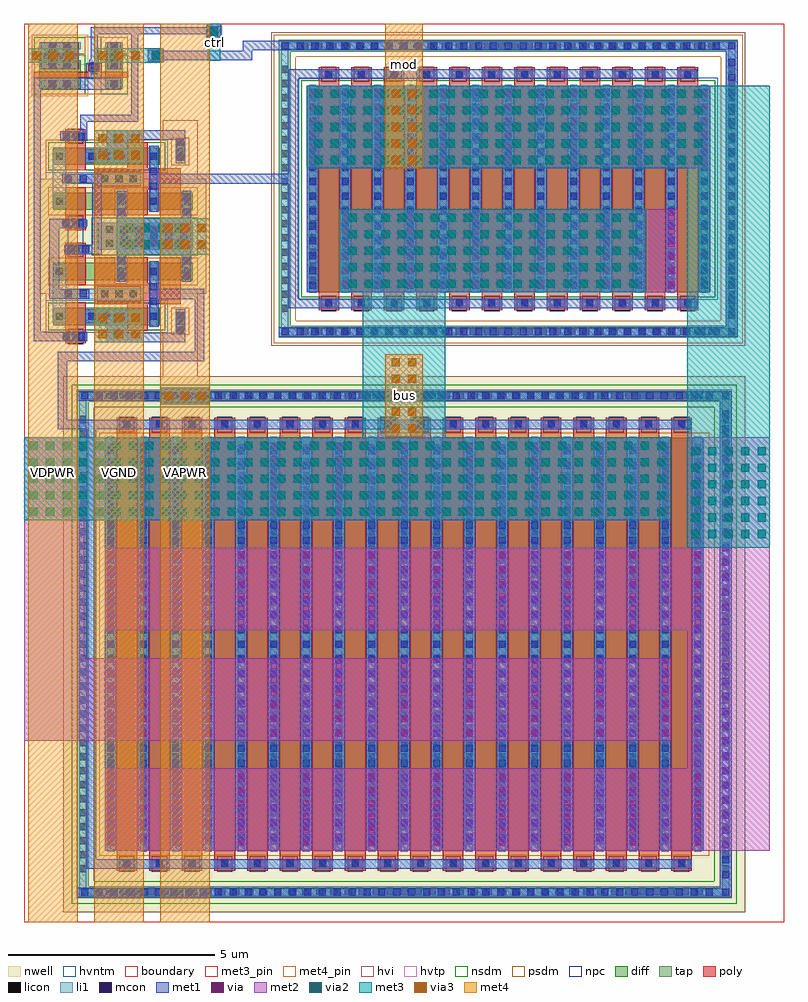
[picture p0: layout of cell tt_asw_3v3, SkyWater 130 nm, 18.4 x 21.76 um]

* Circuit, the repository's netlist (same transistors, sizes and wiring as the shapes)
** sch_path: /home/tnt/consult/tinytapeout/tt_asw_3v3/xschem/tt_asw_3v3.sch
.subckt tt_asw_3v3 VGND VDPWR VAPWR ctrl mod bus
*.iopin mod
*.iopin bus
*.ipin ctrl
*.iopin VGND
*.iopin VDPWR
*.iopin VAPWR
XM1 tgon_n net2 VAPWR VAPWR sky130_fd_pr__pfet_g5v0d10v5 L=0.5 W=0.84 nf=1 ad='int((nf+1)/2) * W/nf * 0.29' as='int((nf+2)/2) * W/nf * 0.29'
+ pd='2*int((nf+1)/2) * (W/nf + 0.29)' ps='2*int((nf+2)/2) * (W/nf + 0.29)' nrd='0.29 / W' nrs='0.29 / W' sa=0 sb=0 sd=0 mult=1 m=1
XM2 tgon_n net2 VGND VGND sky130_fd_pr__nfet_g5v0d10v5 L=0.5 W=0.42 nf=1 ad='int((nf+1)/2) * W/nf * 0.29' as='int((nf+2)/2) * W/nf * 0.29'
+ pd='2*int((nf+1)/2) * (W/nf + 0.29)' ps='2*int((nf+2)/2) * (W/nf + 0.29)' nrd='0.29 / W' nrs='0.29 / W' sa=0 sb=0 sd=0 mult=1 m=1
XM3 tgon net1 VAPWR VAPWR sky130_fd_pr__pfet_g5v0d10v5 L=0.5 W=0.84 nf=1 ad='int((nf+1)/2) * W/nf * 0.29' as='int((nf+2)/2) * W/nf * 0.29'
+ pd='2*int((nf+1)/2) * (W/nf + 0.29)' ps='2*int((nf+2)/2) * (W/nf + 0.29)' nrd='0.29 / W' nrs='0.29 / W' sa=0 sb=0 sd=0 mult=1 m=1
XM4 tgon net1 VGND VGND sky130_fd_pr__nfet_g5v0d10v5 L=0.5 W=0.42 nf=1 ad='int((nf+1)/2) * W/nf * 0.29' as='int((nf+2)/2) * W/nf * 0.29'
+ pd='2*int((nf+1)/2) * (W/nf + 0.29)' ps='2*int((nf+2)/2) * (W/nf + 0.29)' nrd='0.29 / W' nrs='0.29 / W' sa=0 sb=0 sd=0 mult=1 m=1
XM5 bus tgon_n mod VAPWR sky130_fd_pr__pfet_g5v0d10v5 L=0.5 W=180 nf=18 ad='int((nf+1)/2) * W/nf * 0.29' as='int((nf+2)/2) * W/nf * 0.29'
+ pd='2*int((nf+1)/2) * (W/nf + 0.29)' ps='2*int((nf+2)/2) * (W/nf + 0.29)' nrd='0.29 / W' nrs='0.29 / W' sa=0 sb=0 sd=0 mult=1 m=1
XM6 bus tgon mod VGND sky130_fd_pr__nfet_g5v0d10v5 L=0.5 W=60 nf=12 ad='int((nf+1)/2) * W/nf * 0.29' as='int((nf+2)/2) * W/nf * 0.29'
+ pd='2*int((nf+1)/2) * (W/nf + 0.29)' ps='2*int((nf+2)/2) * (W/nf + 0.29)' nrd='0.29 / W' nrs='0.29 / W' sa=0 sb=0 sd=0 mult=1 m=1
XM7 ctrl_n ctrl VGND VGND sky130_fd_pr__nfet_01v8 L=0.15 W=0.42 nf=1 ad='int((nf+1)/2) * W/nf * 0.29' as='int((nf+2)/2) * W/nf * 0.29'
+ pd='2*int((nf+1)/2) * (W/nf + 0.29)' ps='2*int((nf+2)/2) * (W/nf + 0.29)' nrd='0.29 / W' nrs='0.29 / W' sa=0 sb=0 sd=0 mult=1 m=1
XM8 ctrl_n ctrl VDPWR VDPWR sky130_fd_pr__pfet_01v8_hvt L=0.15 W=1 nf=1 ad='int((nf+1)/2) * W/nf * 0.29' as='int((nf+2)/2) * W/nf * 0.29'
+ pd='2*int((nf+1)/2) * (W/nf + 0.29)' ps='2*int((nf+2)/2) * (W/nf + 0.29)' nrd='0.29 / W' nrs='0.29 / W' sa=0 sb=0 sd=0 mult=1 m=1
XM9 net1 ctrl VGND VGND sky130_fd_pr__nfet_g5v0d10v5 L=0.5 W=0.42 nf=1 ad='int((nf+1)/2) * W/nf * 0.29' as='int((nf+2)/2) * W/nf * 0.29'
+ pd='2*int((nf+1)/2) * (W/nf + 0.29)' ps='2*int((nf+2)/2) * (W/nf + 0.29)' nrd='0.29 / W' nrs='0.29 / W' sa=0 sb=0 sd=0 mult=1 m=1
XM10 net2 ctrl_n VGND VGND sky130_fd_pr__nfet_g5v0d10v5 L=0.5 W=0.42 nf=1 ad='int((nf+1)/2) * W/nf * 0.29' as='int((nf+2)/2) * W/nf * 0.29'
+ pd='2*int((nf+1)/2) * (W/nf + 0.29)' ps='2*int((nf+2)/2) * (W/nf + 0.29)' nrd='0.29 / W' nrs='0.29 / W' sa=0 sb=0 sd=0 mult=1 m=1
XM11 net1 net2 net3 VAPWR sky130_fd_pr__pfet_g5v0d10v5 L=0.5 W=0.42 nf=1 ad='int((nf+1)/2) * W/nf * 0.29' as='int((nf+2)/2) * W/nf * 0.29'
+ pd='2*int((nf+1)/2) * (W/nf + 0.29)' ps='2*int((nf+2)/2) * (W/nf + 0.29)' nrd='0.29 / W' nrs='0.29 / W' sa=0 sb=0 sd=0 mult=1 m=1
XM12 net2 net1 net4 VAPWR sky130_fd_pr__pfet_g5v0d10v5 L=0.5 W=0.42 nf=1 ad='int((nf+1)/2) * W/nf * 0.29' as='int((nf+2)/2) * W/nf * 0.29'
+ pd='2*int((nf+1)/2) * (W/nf + 0.29)' ps='2*int((nf+2)/2) * (W/nf + 0.29)' nrd='0.29 / W' nrs='0.29 / W' sa=0 sb=0 sd=0 mult=1 m=1
XM13 net3 net1 VAPWR VAPWR sky130_fd_pr__pfet_g5v0d10v5 L=0.5 W=0.42 nf=1 ad='int((nf+1)/2) * W/nf * 0.29' as='int((nf+2)/2) * W/nf * 0.29'
+ pd='2*int((nf+1)/2) * (W/nf + 0.29)' ps='2*int((nf+2)/2) * (W/nf + 0.29)' nrd='0.29 / W' nrs='0.29 / W' sa=0 sb=0 sd=0 mult=1 m=1
XM14 net4 net2 VAPWR VAPWR sky130_fd_pr__pfet_g5v0d10v5 L=0.5 W=0.42 nf=1 ad='int((nf+1)/2) * W/nf * 0.29' as='int((nf+2)/2) * W/nf * 0.29'
+ pd='2*int((nf+1)/2) * (W/nf + 0.29)' ps='2*int((nf+2)/2) * (W/nf + 0.29)' nrd='0.29 / W' nrs='0.29 / W' sa=0 sb=0 sd=0 mult=1 m=1
.ends
.end

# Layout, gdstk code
from math import pi, radians
import gdstk
lib = gdstk.Library(unit=1e-6, precision=1e-09)
def R(c, l, rs):  # rectangles x0, y0, x1, y1
    for r in rs: c.add(gdstk.rectangle(r[:2], r[2:], *l))
def A(c, l, x, y, w, h, nx, ny, dx, dy):  # array of equal rectangles
    R(c, l, [(x+i*dx, y+j*dy, x+i*dx+w, y+j*dy+h) for i in range(nx) for j in range(ny)])
nwell = (64, 20)
diff = (65, 20)
tap = (65, 44)
poly = (66, 20)
licon = (66, 44)
li1 = (67, 20)
mcon = (67, 44)
met1 = (68, 20)
via = (68, 44)
met2 = (69, 20)
via2 = (69, 44)
met3_pin = (70, 16)
met3 = (70, 20)
via3 = (70, 44)
met4_pin = (71, 16)
met4 = (71, 20)
hvi = (75, 20)
hvtp = (78, 44)
nsdm = (93, 44)
psdm = (94, 20)
npc = (95, 20)
hvntm = (125, 20)
boundary = (235, 4)

tt_small_inv = lib.new_cell('tt_small_inv')
R(tt_small_inv, nwell, [(3.21,24.22,4.7,25.58)])
R(tt_small_inv, diff, [(3.83,24.4,4.52,25.4), (3.83,26,4.52,26.42)])
R(tt_small_inv, tap, [(3.39,24.4,3.56,25.4), (3.39,26,3.56,26.42)])
R(tt_small_inv, poly, [(4.1,24.27,4.25,25.59), (3.92,25.59,4.25,25.86), (4.1,25.86,4.25,26.55)])
R(tt_small_inv, licon, [(3.39,24.645,3.56,24.815), (3.87,24.645,4.04,24.815), (4.31,24.645,4.48,24.815), (3.39,24.985,3.56,25.155), (3.87,24.985,4.04,25.155), (4.31,24.985,4.48,25.155), (4,25.64,4.17,25.81), (3.39,26.125,3.56,26.295), (3.87,26.125,4.04,26.295), (4.31,26.125,4.48,26.295)])
R(tt_small_inv, li1, [(3.39,24.44,4.04,25.36), (4.31,24.44,4.48,25.36), (3.88,25.64,4.25,25.81), (3.39,26.04,4.04,26.38), (4.31,26.04,4.48,26.38)])
R(tt_small_inv, mcon, [(3.45,24.635,3.62,24.805), (3.81,24.635,3.98,24.805), (4.31,24.635,4.48,24.805), (3.45,24.995,3.62,25.165), (3.81,24.995,3.98,25.165), (4.31,24.995,4.48,25.165), (3.88,25.64,4.05,25.81), (3.45,26.125,3.62,26.295), (3.81,26.125,3.98,26.295), (4.31,26.125,4.48,26.295)])
R(tt_small_inv, met1, [(3.39,24.44,4.04,25.36), (4.25,24.44,4.54,26.38), (3.82,25.61,4.11,25.64), (3.39,25.64,4.11,25.81), (3.82,25.81,4.11,25.84), (3.39,26.04,4.04,26.38)])
R(tt_small_inv, hvtp, [(3.92,24.22,4.43,25.58)])
R(tt_small_inv, nsdm, [(3.265,24.275,3.685,25.5), (3.26,25.5,4.65,25.9), (3.705,25.9,4.645,26.545)])
R(tt_small_inv, psdm, [(3.705,24.275,4.645,25.5), (3.26,25.5,4.65,25.9), (3.265,25.9,3.685,26.545)])
R(tt_small_inv, npc, [(3.9,25.54,4.27,25.91)])

tt_lvl_shift = lib.new_cell('tt_lvl_shift')
R(tt_lvl_shift, nwell, [(-0.01,-1.39,4.02,1.39)])
R(tt_lvl_shift, diff, [(1.11,-2.15,3.69,-1.73), (0.32,-1.06,3.69,-0.64), (0.32,0.64,3.69,1.06), (1.11,1.73,3.69,2.15)])
R(tt_lvl_shift, tap, [(0.52,-2.26,0.71,-1.85), (0.32,-0.33,2.64,0.33), (0.52,1.85,0.71,2.26)])
A(tt_lvl_shift, poly, 0.61, -1.14, 0.5, 0.63, 3, 2, 0.79, 1.65)
R(tt_lvl_shift, poly, [(2.9,-2.59,3.4,-1.6), (1.4,-2.28,1.9,-1.65), (0.61,-1.65,2.69,-1.14), (2.9,-1.19,3.4,-0.15), (2.9,0.15,3.4,1.19), (0.61,1.14,2.69,1.65), (2.9,1.6,3.4,2.59), (1.4,1.65,1.9,2.28)])
A(tt_lvl_shift, licon, 1.975, -2.025, 0.17, 0.17, 3, 2, 0.34, 3.88)
A(tt_lvl_shift, licon, 1.675, -1.48, 0.17, 0.17, 3, 2, 0.34, 2.79)
A(tt_lvl_shift, licon, 0.38, -0.935, 0.17, 0.17, 3, 2, 0.79, 1.7)
A(tt_lvl_shift, licon, 0.545, -0.255, 0.17, 0.17, 6, 2, 0.34, 0.34)
R(tt_lvl_shift, licon, [(3.065,-2.51,3.235,-2.34), (0.53,-2.14,0.7,-1.97), (1.17,-2.025,1.34,-1.855), (3.46,-2.025,3.63,-1.855), (3.46,-0.935,3.63,-0.765), (3.065,-0.4,3.235,-0.23), (3.065,0.23,3.235,0.4), (3.46,0.765,3.63,0.935), (1.17,1.855,1.34,2.025), (3.46,1.855,3.63,2.025), (0.53,1.97,0.7,2.14), (3.065,2.34,3.235,2.51)])
R(tt_lvl_shift, li1, [(2.87,-2.51,3.46,-2.34), (0.53,-2.36,0.7,-1.83), (1.17,-2.19,1.34,-0.6), (1.88,-2.11,2.92,-1.77), (3.38,-2.11,3.71,-1.52), (1.51,-1.52,3.71,-1.27), (3.38,-1.27,3.71,-0.68), (0.38,-1.1,0.55,-0.33), (1.96,-1.1,2.13,-0.33), (2.87,-0.4,3.48,-0.23), (0.36,-0.33,2.6,0.33), (2.82,0.23,3.43,0.4), (0.38,0.33,0.55,1.1), (1.96,0.33,2.13,1.1), (1.17,0.6,1.34,2.19), (3.38,0.68,3.71,1.27), (1.51,1.27,3.71,1.52), (3.38,1.52,3.71,2.11), (1.88,1.77,2.92,2.11), (0.53,1.83,0.7,2.36), (2.87,2.34,3.46,2.51)])
A(tt_lvl_shift, mcon, 1.955, -2.025, 0.17, 0.17, 3, 2, 0.36, 3.88)
A(tt_lvl_shift, mcon, 1.17, -2.02, 0.17, 0.17, 1, 4, 0, 0.36)
A(tt_lvl_shift, mcon, 0.45, -0.085, 0.17, 0.17, 5, 1, 0.36, 0)
A(tt_lvl_shift, mcon, 1.17, 0.77, 0.17, 0.17, 1, 4, 0, 0.36)
R(tt_lvl_shift, mcon, [(2.93,-2.51,3.1,-2.34), (3.29,-2.51,3.46,-2.34), (0.53,-2.36,0.7,-2.19), (0.53,-2,0.7,-1.83), (2.885,-1.48,3.055,-1.31), (3.245,-1.48,3.415,-1.31), (0.38,-1.04,0.55,-0.87), (1.96,-1.04,2.13,-0.87), (0.38,-0.68,0.55,-0.51), (1.96,-0.68,2.13,-0.51), (2.95,-0.4,3.12,-0.23), (3.31,-0.4,3.48,-0.23), (2.82,0.23,2.99,0.4), (3.18,0.23,3.35,0.4), (0.38,0.51,0.55,0.68), (1.96,0.51,2.13,0.68), (0.38,0.87,0.55,1.04), (1.96,0.87,2.13,1.04), (2.885,1.31,3.055,1.48), (3.245,1.31,3.415,1.48), (0.53,1.83,0.7,2), (0.53,2.19,0.7,2.36), (2.93,2.34,3.1,2.51), (3.29,2.34,3.46,2.51)])
R(tt_lvl_shift, met1, [(0.5,-2.57,2.4,-2.34), (2.87,-2.54,3.52,-2.31), (0.5,-2.34,0.73,-1.77), (1.88,-2.34,2.4,-2.11), (1.14,-2.19,1.37,-0.6), (1.88,-2.11,2.92,-1.77), (2.52,-1.51,3.48,-1.28), (2.52,-1.28,2.75,0.2), (0.35,-1.1,0.58,-0.44), (1.93,-1.1,2.16,-0.44), (0.35,-0.44,2.16,0.44), (2.89,-0.43,3.79,-0.2), (3.55,-0.2,3.79,1.28), (2.52,0.2,3.41,0.43), (0.35,0.44,0.58,1.1), (1.93,0.44,2.16,1.1), (1.14,0.6,1.37,2.19), (2.82,1.28,3.79,1.51), (0.5,1.77,0.73,2.34), (1.88,1.77,2.92,2.11), (1.88,2.11,2.4,2.34), (2.87,2.31,3.52,2.54), (0.5,2.34,2.4,2.57)])
R(tt_lvl_shift, hvi, [(0.195,-2.81,1.035,-2.335), (0.195,-2.335,3.875,-1.39), (-0.01,-1.39,4.02,1.39), (0.195,1.39,3.875,2.335), (0.195,2.335,1.035,2.81)])
R(tt_lvl_shift, nsdm, [(0.985,-2.275,3.815,-1.605), (0.195,-0.455,2.765,0.455), (0.985,1.605,3.815,2.275)])
R(tt_lvl_shift, psdm, [(0.395,-2.385,0.835,-1.725), (0.195,-1.185,3.815,-0.515), (0.195,0.515,3.815,1.185), (0.395,1.725,0.835,2.385)])
R(tt_lvl_shift, npc, [(2.965,-2.61,3.335,-2.24), (1.575,-1.58,2.625,-1.21), (2.965,-0.5,3.335,0.5), (1.575,1.21,2.625,1.58), (2.965,2.24,3.335,2.61)])
R(tt_lvl_shift, hvntm, [(0.925,-2.335,3.875,-1.545), (0.925,1.545,3.875,2.335)])

sky130_fd_pr__pfet_g5v0d = lib.new_cell('sky130_fd_pr__pfet_g5v0d10v5_CYUY46')
R(sky130_fd_pr__pfet_g5v0d, nwell, [(-8.255,-6.485,8.255,6.485)])
R(sky130_fd_pr__pfet_g5v0d, diff, [(-7.255,-5,7.255,5)])
R(sky130_fd_pr__pfet_g5v0d, tap, [(-7.925,-6.155,7.925,-5.865), (-7.925,-5.865,-7.635,5.865), (7.635,-5.865,7.925,5.865), (-7.925,5.865,7.925,6.155)])
A(sky130_fd_pr__pfet_g5v0d, poly, -6.965, -5.485, 0.5, 10.97, 18, 1, 0.79, 0)
A(sky130_fd_pr__pfet_g5v0d, licon, -7.225, -6.095, 0.17, 0.17, 43, 2, 0.34, 12.02)
A(sky130_fd_pr__pfet_g5v0d, licon, -7.865, -5.525, 0.17, 0.17, 1, 33, 0, 0.34)
A(sky130_fd_pr__pfet_g5v0d, licon, 7.695, -5.525, 0.17, 0.17, 1, 33, 0, 0.34)
A(sky130_fd_pr__pfet_g5v0d, licon, -6.8, -5.405, 0.17, 0.17, 18, 2, 0.79, 10.64)
A(sky130_fd_pr__pfet_g5v0d, licon, -7.195, -4.845, 0.17, 0.17, 19, 29, 0.79, 0.34)
A(sky130_fd_pr__pfet_g5v0d, li1, -6.965, -5.405, 0.5, 0.17, 18, 2, 0.79, 10.64)
A(sky130_fd_pr__pfet_g5v0d, li1, -7.195, -5.02, 0.17, 10.04, 19, 1, 0.79, 0)
R(sky130_fd_pr__pfet_g5v0d, li1, [(-7.865,-6.095,7.865,-5.925), (-7.865,-5.925,-7.695,5.925), (7.695,-5.925,7.865,5.925), (-7.865,5.925,7.865,6.095)])
A(sky130_fd_pr__pfet_g5v0d, mcon, -6.8, -5.405, 0.17, 0.17, 18, 2, 0.79, 10.64)
A(sky130_fd_pr__pfet_g5v0d, mcon, -7.195, -4.765, 0.17, 0.17, 19, 27, 0.79, 0.36)
A(sky130_fd_pr__pfet_g5v0d, met1, -6.945, -5.435, 0.46, 0.23, 18, 2, 0.79, 10.64)
A(sky130_fd_pr__pfet_g5v0d, met1, -7.225, -5, 0.23, 10, 19, 1, 0.79, 0)
R(sky130_fd_pr__pfet_g5v0d, hvi, [(-8.255,-6.485,8.255,6.485)])
R(sky130_fd_pr__pfet_g5v0d, nsdm, [(-8.05,-6.28,8.05,-5.74), (-8.05,-5.74,-7.51,5.74), (7.51,-5.74,8.05,5.74), (-8.05,5.74,8.05,6.28)])
R(sky130_fd_pr__pfet_g5v0d, psdm, [(-7.38,-5.125,7.38,5.125)])
A(sky130_fd_pr__pfet_g5v0d, npc, -6.9, -5.505, 0.37, 0.37, 18, 2, 0.79, 10.64)
R(sky130_fd_pr__pfet_g5v0d, boundary, [(-7.78,-6.01,7.78,6.01)])

sky130_fd_pr__nfet_g5v0d = lib.new_cell('sky130_fd_pr__nfet_g5v0d10v5_SFRJCA')
R(sky130_fd_pr__nfet_g5v0d, diff, [(-4.885,-2.5,4.885,2.5)])
R(sky130_fd_pr__nfet_g5v0d, tap, [(-5.555,-3.61,5.555,-3.32), (-5.555,-3.32,-5.265,3.32), (5.265,-3.32,5.555,3.32), (-5.555,3.32,5.555,3.61)])
A(sky130_fd_pr__nfet_g5v0d, poly, -4.595, -2.94, 0.5, 5.88, 12, 1, 0.79, 0)
A(sky130_fd_pr__nfet_g5v0d, licon, -5.015, -3.55, 0.17, 0.17, 30, 2, 0.34, 6.93)
A(sky130_fd_pr__nfet_g5v0d, licon, -5.495, -2.975, 0.17, 0.17, 1, 18, 0, 0.34)
A(sky130_fd_pr__nfet_g5v0d, licon, 5.325, -2.975, 0.17, 0.17, 1, 18, 0, 0.34)
A(sky130_fd_pr__nfet_g5v0d, licon, -4.43, -2.86, 0.17, 0.17, 12, 2, 0.79, 5.55)
A(sky130_fd_pr__nfet_g5v0d, licon, -4.825, -2.295, 0.17, 0.17, 13, 14, 0.79, 0.34)
A(sky130_fd_pr__nfet_g5v0d, li1, -4.595, -2.86, 0.5, 0.17, 12, 2, 0.79, 5.55)
A(sky130_fd_pr__nfet_g5v0d, li1, -4.825, -2.52, 0.17, 5.04, 13, 1, 0.79, 0)
R(sky130_fd_pr__nfet_g5v0d, li1, [(-5.495,-3.55,5.495,-3.38), (-5.495,-3.38,-5.325,3.38), (5.325,-3.38,5.495,3.38), (-5.495,3.38,5.495,3.55)])
A(sky130_fd_pr__nfet_g5v0d, mcon, -4.43, -2.86, 0.17, 0.17, 12, 2, 0.79, 5.55)
A(sky130_fd_pr__nfet_g5v0d, mcon, -4.825, -2.425, 0.17, 0.17, 13, 14, 0.79, 0.36)
A(sky130_fd_pr__nfet_g5v0d, met1, -4.575, -2.89, 0.46, 0.23, 12, 2, 0.79, 5.55)
A(sky130_fd_pr__nfet_g5v0d, met1, -4.855, -2.5, 0.23, 5, 13, 1, 0.79, 0)
R(sky130_fd_pr__nfet_g5v0d, hvi, [(-5.74,-3.795,5.74,3.795)])
R(sky130_fd_pr__nfet_g5v0d, nsdm, [(-5.01,-2.625,5.01,2.625)])
R(sky130_fd_pr__nfet_g5v0d, psdm, [(-5.68,-3.735,5.68,-3.195), (-5.68,-3.195,-5.14,3.195), (5.14,-3.195,5.68,3.195), (-5.68,3.195,5.68,3.735)])
A(sky130_fd_pr__nfet_g5v0d, npc, -4.53, -2.96, 0.37, 0.37, 12, 2, 0.79, 5.55)
R(sky130_fd_pr__nfet_g5v0d, hvntm, [(-5.07,-2.685,5.07,2.685)])
R(sky130_fd_pr__nfet_g5v0d, boundary, [(-5.41,-3.465,5.41,3.465)])

tt_asw_3v3 = lib.new_cell('tt_asw_3v3')
R(tt_asw_3v3, li1, [(1.34,0.64,17.07,0.81), (16.9,0.81,17.07,12.66), (1.34,12.66,17.07,12.83), (6.23,14.21,17.22,14.38), (17.05,14.38,17.22,21.14), (6.23,21.14,17.22,21.31)])
A(tt_asw_3v3, mcon, 1.38, 0.64, 0.17, 0.17, 43, 2, 0.36, 12.02)
A(tt_asw_3v3, mcon, 16.9, 1.07, 0.17, 0.17, 1, 32, 0, 0.36)
A(tt_asw_3v3, mcon, 6.24, 14.21, 0.17, 0.17, 30, 2, 0.36, 6.93)
A(tt_asw_3v3, mcon, 17.05, 14.615, 0.17, 0.17, 1, 18, 0, 0.36)
R(tt_asw_3v3, mcon, [(16.9,0.64,17.07,0.81), (16.9,12.66,17.07,12.83), (17.05,14.21,17.22,14.38), (17.05,21.14,17.22,21.31)])
A(tt_asw_3v3, met1, 1.96, 1.73, 0.27, 10.01, 19, 1, 0.79, 0)
A(tt_asw_3v3, met1, 6.85, 15.26, 0.27, 5, 13, 1, 0.79, 0)
R(tt_asw_3v3, met1, [(1.28,0.61,17.13,0.84), (16.84,0.84,17.13,12.63), (1.52,1.3,16.15,1.53), (1.52,1.53,1.75,11.94), (0.82,11.94,16.15,12.17), (0.82,12.17,1.05,13.58), (3.31,12.58,4.49,12.63), (1.28,12.63,17.13,12.86), (3.31,12.86,4.49,12.91), (0.82,13.58,4.36,13.81), (4.13,13.81,4.36,15.09), (2.03,14.04,2.49,14.84), (0.24,14.07,0.88,14.3), (6.17,14.18,17.28,14.41), (0.24,14.3,0.41,20.45), (16.99,14.41,17.28,21.11), (6.41,14.87,16.3,15.1), (3.26,15.09,4.36,15.34), (6.41,15.1,6.64,17.88), (2.24,16.2,4.05,17.02), (3.26,17.88,6.64,18.13), (6.41,18.13,6.64,20.42), (2.03,18.38,2.49,19.18), (1.36,19.15,1.53,19.38), (1.36,19.38,2.77,19.55), (2.6,19.55,2.77,21.5), (6.41,20.42,16.3,20.65), (0.41,20.85,1.33,21.12), (2.01,20.85,2.35,21.12), (2.99,20.85,3.39,20.87), (2.99,20.87,5.53,21.1), (2.99,21.1,3.39,21.12), (5.3,21.1,5.53,21.11), (5.3,21.11,17.28,21.34), (1.61,21.31,1.78,21.5), (4.44,21.44,4.76,21.5), (1.61,21.5,4.76,21.67), (4.44,21.67,4.76,21.7)])
A(tt_asw_3v3, via, 2.02, 1.855, 0.15, 0.15, 10, 6, 1.58, 0.32)
A(tt_asw_3v3, via, 2.81, 4.525, 0.15, 0.15, 9, 6, 1.58, 0.32)
A(tt_asw_3v3, via, 2.02, 7.195, 0.15, 0.15, 10, 6, 1.58, 0.32)
A(tt_asw_3v3, via, 2.81, 9.865, 0.15, 0.15, 9, 6, 1.58, 0.32)
A(tt_asw_3v3, via, 3.505, 12.67, 0.15, 0.15, 3, 1, 0.32, 0)
A(tt_asw_3v3, via, 7.7, 15.385, 0.15, 0.15, 6, 6, 1.58, 0.32)
A(tt_asw_3v3, via, 2.43, 16.375, 0.15, 0.15, 5, 2, 0.32, 0.32)
A(tt_asw_3v3, via, 6.91, 18.385, 0.15, 0.15, 7, 6, 1.58, 0.32)
A(tt_asw_3v3, via, 0.475, 20.91, 0.15, 0.15, 3, 1, 0.32, 0)
R(tt_asw_3v3, via, [(2.185,14.205,2.335,14.355), (2.185,14.525,2.335,14.675), (2.185,18.545,2.335,18.695), (2.185,18.865,2.335,19.015), (2.105,20.91,2.255,21.06), (3.115,20.91,3.265,21.06), (4.525,21.495,4.675,21.645)])
R(tt_asw_3v3, met2, [(1.96,1.73,18.06,3.73), (16.06,3.73,18.06,7.07), (0,4.4,15.66,6.4), (0,6.4,1.46,9.74), (1.96,7.07,18.06,9.07), (16.06,9.07,18.06,11.74), (0,9.74,15.66,11.74), (3.31,12.58,4.49,12.91), (2,14.04,2.52,14.84), (7.64,15.26,15.81,17.26), (2.24,16.17,4.05,17.05), (6.85,18.26,16.6,20.26), (2,18.38,2.52,19.18), (0.41,20.82,1.33,21.15), (1.99,20.82,2.37,21.15), (3,20.82,3.38,21.15), (4.41,21.43,4.79,21.71)])
A(tt_asw_3v3, via2, 16.16, 9.305, 0.2, 0.2, 5, 6, 0.4, 0.4)
A(tt_asw_3v3, via2, 0.13, 9.84, 0.2, 0.2, 39, 5, 0.4, 0.4)
A(tt_asw_3v3, via2, 3.4, 12.645, 0.2, 0.2, 3, 1, 0.4, 0)
A(tt_asw_3v3, via2, 7.85, 15.36, 0.2, 0.2, 18, 5, 0.4, 0.4)
A(tt_asw_3v3, via2, 2.445, 16.31, 0.2, 0.2, 4, 2, 0.4, 0.4)
A(tt_asw_3v3, via2, 7.025, 18.36, 0.2, 0.2, 24, 5, 0.4, 0.4)
R(tt_asw_3v3, via2, [(2.16,14.14,2.36,14.34), (2.16,14.54,2.36,14.74), (2.16,18.48,2.36,18.68), (2.16,18.88,2.36,19.08), (0.57,20.885,0.77,21.085), (0.97,20.885,1.17,21.085), (2.08,20.885,2.28,21.085), (3.09,20.885,3.29,21.085), (4.5,21.47,4.7,21.67)])
R(tt_asw_3v3, met3_pin, [(4.45,20.86,4.75,21.76)])
R(tt_asw_3v3, met3, [(16.06,9.07,18.06,18.26), (0,9.74,15.66,11.74), (8.2,11.74,10.2,15.26), (3.31,12.55,4.49,12.94), (1.7,14.04,2.9,14.84), (7.64,15.26,15.06,17.26), (2.24,16.17,4.5,17.05), (6.85,18.26,18.06,20.26), (1.7,18.38,2.9,19.18), (0.1,20.81,1.31,21.16), (1.7,20.81,3.36,21.16), (4.45,20.86,4.75,21.38), (4.43,21.38,4.77,21.76)])
A(tt_asw_3v3, via3, 8.9, 11.86, 0.2, 0.2, 1, 5, 0, 0.4)
A(tt_asw_3v3, via3, 9.3, 11.86, 0.2, 0.2, 1, 5, 0, 0.4)
A(tt_asw_3v3, via3, 3.4, 12.645, 0.2, 0.2, 3, 2, 0.4, 3.665)
A(tt_asw_3v3, via3, 1.8, 14.14, 0.2, 0.2, 3, 2, 0.4, 0.4)
A(tt_asw_3v3, via3, 3.4, 16.71, 0.2, 0.2, 3, 1, 0.4, 0)
A(tt_asw_3v3, via3, 8.9, 18.36, 0.2, 0.2, 1, 5, 0, 0.4)
A(tt_asw_3v3, via3, 9.3, 18.36, 0.2, 0.2, 1, 5, 0, 0.4)
A(tt_asw_3v3, via3, 1.8, 18.48, 0.2, 0.2, 3, 2, 0.4, 0.4)
A(tt_asw_3v3, via3, 0.2, 20.885, 0.2, 0.2, 3, 1, 0.4, 0)
A(tt_asw_3v3, via3, 1.8, 20.885, 0.2, 0.2, 3, 1, 0.4, 0)
A(tt_asw_3v3, met4_pin, 0.1, 0, 1.2, 21.76, 3, 1, 1.6, 0)
R(tt_asw_3v3, met4_pin, [(8.75,11.76,9.65,13.76), (8.75,19.76,9.65,21.76)])
A(tt_asw_3v3, met4, 0.1, 0, 1.2, 21.76, 3, 1, 1.6, 0)
R(tt_asw_3v3, met4, [(8.75,11.76,9.65,13.76), (8.75,18.26,9.65,21.76)])
R(tt_asw_3v3, hvi, [(3.365,13.22,4.205,13.8)])
R(tt_asw_3v3, boundary, [(0,0,18.4,21.76)])
tt_asw_3v3.add(gdstk.Reference(tt_small_inv, (-24.03,24.7), rotation=3*pi/2))
tt_asw_3v3.add(gdstk.Reference(tt_lvl_shift, (4.4,16.61), rotation=pi))
tt_asw_3v3.add(gdstk.Reference(sky130_fd_pr__pfet_g5v0d, (9.205,6.735)))
tt_asw_3v3.add(gdstk.Reference(sky130_fd_pr__nfet_g5v0d, (11.725,17.76)))
tt_asw_3v3.add(gdstk.Label('VGND', (2.3,10.88), layer=71, texttype=5))
tt_asw_3v3.add(gdstk.Label('VDPWR', (0.7,10.88), layer=71, texttype=5))
tt_asw_3v3.add(gdstk.Label('VAPWR', (3.9,10.88), layer=71, texttype=5))
tt_asw_3v3.add(gdstk.Label('ctrl', (4.6,21.31), layer=70, texttype=5))
tt_asw_3v3.add(gdstk.Label('mod', (9.2,20.76), layer=71, texttype=5))
tt_asw_3v3.add(gdstk.Label('bus', (9.2,12.76), layer=71, texttype=5))

lib.write_gds('tt_asw_3v3.gds')
